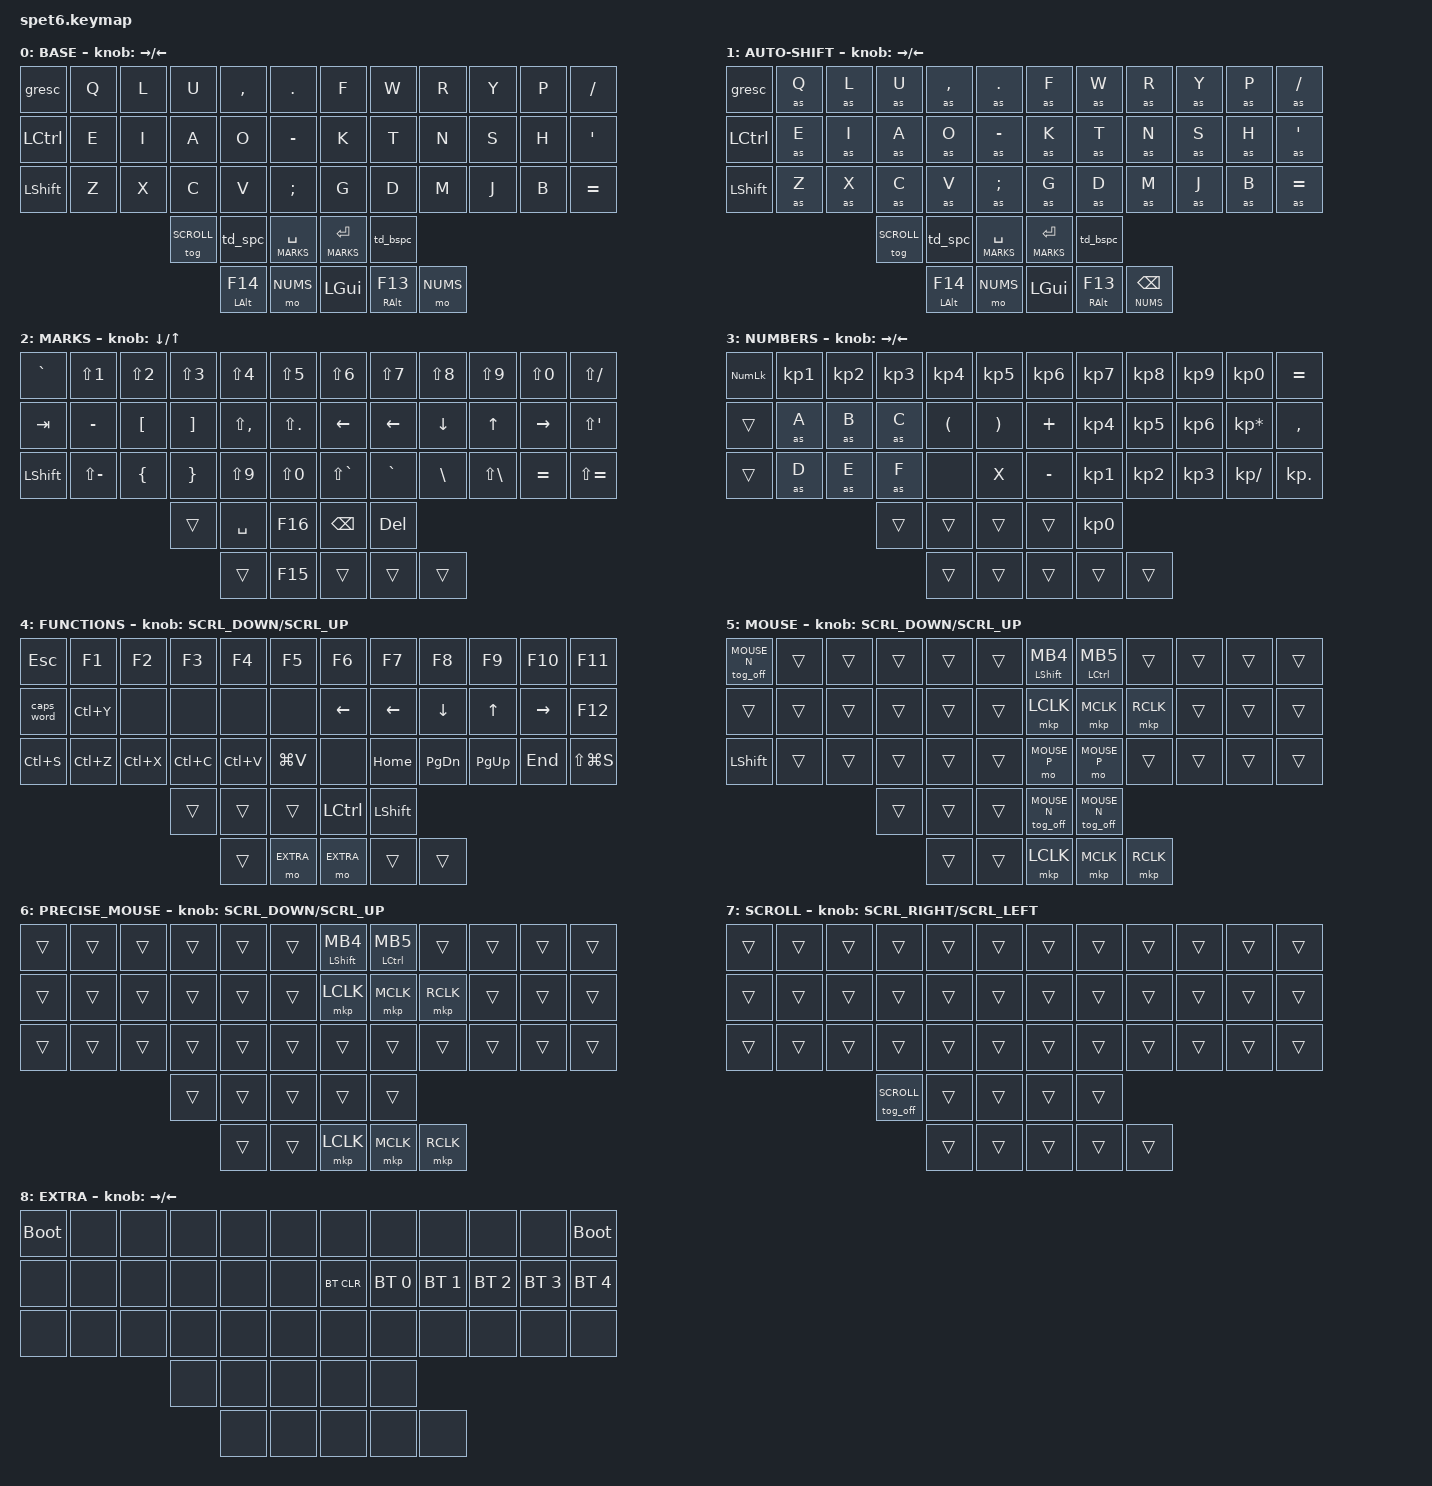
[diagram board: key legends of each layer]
/*
 * Copyright (c) 2020 The ZMK Contributors
 *
 * SPDX-License-Identifier: MIT
 */

#include <input/processors.dtsi>

#define ZMK_POINTING_DEFAULT_SCRL_VAL 120
#define ZMK_MOUSE_SCRL_VAL 140

#include <zephyr/dt-bindings/input/input-event-codes.h>
#include <behaviors.dtsi>
#include <dt-bindings/zmk/bt.h>
#include <dt-bindings/zmk/keys.h>
#include <dt-bindings/zmk/pointing.h>

#define DEFAULT   0
#define AUTOSHIFT 1
#define MARKS     2
#define NUMS      3
#define FUNCS     4
#define MOUSE_N   5
#define MOUSE_P   6
#define SCROLL    7
#define EXTRA     8

/**************************************************************************/
/*  TrackBall 関連                                                        */

&trackball { cpi = <600>; };

&trackball_listener {
    input-processors = <&zip_temp_layer MOUSE_N 5000>;

    precise {
        layers = <MOUSE_P>;
        input-processors = <&zip_xy_scaler 1 16>;
        process-next;
    };
};

&trackball_scroller {
    layers = <SCROLL>;

    // Example: adjust sensitivity of scroll multiply by 1 and divide by 60.
    // input-processors = <&zip_xy_scaler 1 60 &zip_xy_to_scroll_mapper>;
};

// クリック時に10秒間AMLを延長

&mkp_input_listener { input-processors = <&zip_temp_layer MOUSE_N 10000>; };

// キー入力から200ms間はAMLを抑制(AML誤発動防止)

&zip_temp_layer { require-prior-idle-ms = <200>; };

/**************************************************************************/
/*   マウススクロール用設定                                               */

/ {
    input_processors {
        zip_wheel_scaler: zip_wheel_scaler {
            compatible = "zmk,input-processor-scaler";
            #input-processor-cells = <2>;
            type = <INPUT_EV_REL>;
            codes = <INPUT_REL_WHEEL>;
            track-remainders;
        };
    };
};

&msc {
    delay-ms = <0>;
    trigger-period-ms = <10>;
    time-to-max-speed-ms = <0>;
    acceleration-exponent = <0>;
};

&msc_input_listener {
    warp {
        layers = <MOUSE_N SCROLL>;
        input-processors = <&zip_wheel_scaler 4 1>;
    };

    normal {
        layers = <DEFAULT MARKS NUMS FUNCS EXTRA>;
        input-processors = <&zip_wheel_scaler 1 1>;
    };
};

/**************************************************************************/

/ {
    combos {
        compatible = "zmk,combos";

        combo_shift_R {
            bindings = <&kp RSHFT>;
            key-positions = <39 40>;
        };

        combo_shift_L {
            bindings = <&kp LSHFT>;
            key-positions = <37 38>;
        };

        combo_tab {
            bindings = <&kp TAB>;
            key-positions = <12 13>;
        };

        mo_scroll {
            bindings = <&mo SCROLL>;
            key-positions = <41 42>;
        };

        mo_scroll2 {
            bindings = <&mo SCROLL>;
            key-positions = <30 31>;
        };

        alt_space {
            bindings = <&kp LA(SPACE)>;
            key-positions = <38 39>;
        };

        combo_capslock {
            bindings = <&kp CAPS>;
            key-positions = <12 13 14>;
        };

        toggle_autoshift {
            bindings = <&tog AUTOSHIFT>;
            key-positions = <0 11>;
        };

        Lctrl {
            bindings = <&kp LCTRL>;
            key-positions = <24 25>;
        };

        Rctrl {
            bindings = <&kp RCTRL>;
            key-positions = <34 35>;
        };

        toggle_IME {
            bindings = <&kp LC(SPACE)>;
            key-positions = <37 40>;
        };
    };

    /**************************************************************************/

    macros {
        // for Auto Shift

        shifted: macro_shifted_kp {
            #binding-cells = <1>;
            label = "MACRO_SHIFTED_KP";
            compatible = "zmk,behavior-macro-one-param";
            bindings =
                <&macro_press>,
                <&kp LSHFT &macro_param_1to1>,
                <&macro_tap>,
                <&kp MACRO_PLACEHOLDER>,
                <&macro_release>,
                <&kp LSHFT>;
        };

        as: autoshift {
            compatible = "zmk,behavior-macro-one-param";
            #binding-cells = <1>;
            label = "AUTOSHIFT_KP";
            bindings =
                <&macro_press>,
                <&macro_param_1to1 &macro_param_1to2 &as_ht MACRO_PLACEHOLDER MACRO_PLACEHOLDER>,
                <&macro_pause_for_release>,
                <&macro_release>,
                <&macro_param_1to1 &macro_param_1to2 &as_ht MACRO_PLACEHOLDER MACRO_PLACEHOLDER>;
        };
    };

    /**************************************************************************/

    behaviors {
        td_bspc: tap_dance_0 {
            compatible = "zmk,behavior-tap-dance";
            #binding-cells = <0>;
            tapping-term-ms = <200>;
            bindings = <&lt FUNCS BSPC>, <&kp BSPC>;
        };

        td_spc: tap_dance_1 {
            compatible = "zmk,behavior-tap-dance";
            #binding-cells = <0>;
            tapping-term-ms = <200>;
            bindings = <&lt FUNCS SPACE>, <&kp SPACE>;
        };

        mouse_scroll: mouse_wheel_scroll {
            compatible = "zmk,behavior-sensor-rotate-var";
            #sensor-binding-cells = <2>;
            bindings = <&msc>, <&msc>;

            tap-ms = <25>;
        };

        mod_mkp: mod_mkp {
            compatible = "zmk,behavior-hold-tap";
            label = "MOD_MKP";
            bindings = <&kp>, <&mkp>;

            #binding-cells = <2>;
            tapping-term-ms = <150>;
        };

        as_ht: autoshift_hold_tap {
            compatible = "zmk,behavior-hold-tap";
            label = "AUTOSHIFT_HOLD_TAP";
            #binding-cells = <2>;
            tapping_term_ms = <180>;
            quick_tap_ms = <0>;
            flavor = "tap-preferred";
            bindings = <&shifted>, <&kp>;
        };

        tog_off: toggle_layer_off {
            compatible = "zmk,behavior-toggle-layer";
            #binding-cells = <1>;
            display-name = "Toggle Layer Off";
            toggle-mode = "off";
        };

        ime_alt: ime_alt {
            compatible = "zmk,behavior-hold-tap";
            label = "IME_ALT";
            bindings = <&kp>, <&kp>;

            #binding-cells = <2>;
            tapping-term-ms = <200>;
            flavor = "tap-preferred";
        };
    };

    /**************************************************************************/

    keymap {
        compatible = "zmk,keymap";

        default_layer {
            display-name = "BASE";

            // -----------------------------------------------------------------------------------------
            // |  ESC |  Q  |  L  |  U  |  ,  |  .  |   |  F  |  W   |  R  |  Y  |  P  |  /   |
            // | CTRL |  E  |  I  |  A  |  O  |  -  |   |  K  |  T   |  N  |  S  |  H  |  '   |
            // | SHFT |  Z  |  X  |  C  |  V  |  B  |   |  G  |  D   |  M  |  J  |  B  |  =   |
            //        | SCRL| SPC(FUNK) | SPC(MARK) |   | ENT(MARK) | BKSP(FUNC) |
            //              |  LALT     | NUMS      |   | GUI       | RALT       | BKSP(NUM)|

            bindings = <
&gresc     &kp Q  &kp L  &kp U        &kp COMMA          &kp PERIOD       &kp F          &kp W              &kp R     &kp Y  &kp P  &kp SLASH
&kp LCTRL  &kp E  &kp I  &kp A        &kp O              &kp MINUS        &kp K          &kp T              &kp N     &kp S  &kp H  &kp SQT
&kp LSHFT  &kp Z  &kp X  &kp C        &kp V              &kp SEMICOLON    &kp G          &kp D              &kp M     &kp J  &kp B  &kp EQUAL
                         &tog SCROLL  &td_spc            &lt MARKS SPACE  &lt MARKS RET  &td_bspc
                                      &ime_alt LALT F14  &mo NUMS         &kp LGUI       &ime_alt RALT F13  &mo NUMS
            >;

            sensor-bindings = <&inc_dec_kp RIGHT LEFT>;
        };

        autoshift_layer {
            display-name = "AUTO-SHIFT";

            // -----------------------------------------------------------------------------------------
            // |  ESC |  Q  |  L  |  U  |  ,  |  .  |   |  F  |  W   |  R  |  Y  |  P  |  /   |
            // | CTRL |  E  |  I  |  A  |  O  |  -  |   |  K  |  T   |  N  |  S  |  H  |  '   |
            // | SHFT |  Z  |  X  |  C  |  V  |  B  |   |  G  |  D   |  M  |  J  |  B  |  =   |
            //        | SCRL| SPC(FUNK) | SPC(MARK) |   | ENT(MARK) | BKSP(FUNC) |
            //              |  LALT     | NUMS      |   | GUI       | RALT       | BKSP(NUM)|

            bindings = <
&gresc     &as Q  &as L  &as U        &as COMMA          &as PERIOD       &as F          &as W              &as R               &as Y  &as P  &as SLASH
&kp LCTRL  &as E  &as I  &as A        &as O              &as MINUS        &as K          &as T              &as N               &as S  &as H  &as SQT
&kp LSHFT  &as Z  &as X  &as C        &as V              &as SEMICOLON    &as G          &as D              &as M               &as J  &as B  &as EQUAL
                         &tog SCROLL  &td_spc            &lt MARKS SPACE  &lt MARKS RET  &td_bspc
                                      &ime_alt LALT F14  &mo NUMS         &kp LGUI       &ime_alt RALT F13  &lt NUMS BACKSPACE
            >;

            sensor-bindings = <&inc_dec_kp RIGHT LEFT>;
        };

        mark_layer {
            display-name = "MARKS";

            // -----------------------------------------------------------------------------------------
            // |  ~   |  !  |  @  |  #  |  $  |  %  |   |  ^  |  &  |  *  |  (        | )   | ?  |
            // | TAB  |  -  |  {  |  }  |  <  | >   |   | LFT | LFT | DWN |  UP       | RGT |  " |
            // |      |  _  |  [  |  ]  |  (  | )   |   |  `  |  ~  |  ¥  |  Lsft(¥)  |  =  |  + |
            //                    | --- |---- | ----|   | ---- | DELETE  |
            //                          |---- | ----|   | ---- |  -----  | ---- |

            bindings = <
&kp GRAVE  &kp LS(N1)     &kp LS(N2)  &kp LS(N3)  &kp LS(N4)     &kp LS(N5)      &kp LS(N6)     &kp LS(N7)  &kp LS(N8)  &kp LS(N9)    &kp LS(N0)  &kp LS(SLASH)
&kp TAB    &kp MINUS      &kp LBKT    &kp RBKT    &kp LS(COMMA)  &kp LS(PERIOD)  &kp LEFT       &kp LEFT    &kp DOWN    &kp UP        &kp RIGHT   &kp LS(SQT)
&kp LSHFT  &kp LS(MINUS)  &kp LBRC    &kp RBRC    &kp LS(N9)     &kp LS(N0)      &kp LS(GRAVE)  &kp GRAVE   &kp BSLH    &kp LS(BSLH)  &kp EQUAL   &kp LS(EQUAL)
                                      &trans      &kp SPACE      &kp F16         &kp BACKSPACE  &kp DELETE
                                                  &trans         &kp F15         &trans         &trans      &trans
            >;

            sensor-bindings = <&inc_dec_kp DOWN UP>;
        };

        num_layer {
            display-name = "NUMBERS";

            // -----------------------------------------------------------------------------------------
            // |  NUM |  1  |  2  |  3  |  4  |  5  |   |  6  |  7  |  8  |  9  |  0  |  .   |
            // | ---- |  a  |  b  |  c  |  (  |  )  |   |  +  |  4  |  5  |  6  |  *  |  ,   |
            // | ---- |  d  |  e  |  f  | --- |  x  |   |  -  |  1  |  2  |  3  |  /  |  =   |
            //                    | --- |---- | ----|   | --- | --- |
            //                          |---- | ----|   | --- | --- | --- |

            bindings = <
&kp KP_NUM  &kp KP_N1  &kp KP_N2  &kp KP_N3  &kp KP_N4             &kp KP_N5              &kp KP_N6  &kp KP_N7        &kp KP_N8  &kp KP_N9  &kp KP_N0        &kp EQUAL
&trans      &as A      &as B      &as C      &kp LEFT_PARENTHESIS  &kp RIGHT_PARENTHESIS  &kp PLUS   &kp KP_N4        &kp KP_N5  &kp KP_N6  &kp KP_ASTERISK  &kp COMMA
&trans      &as D      &as E      &as F      &none                 &kp X                  &kp MINUS  &kp KP_N1        &kp KP_N2  &kp KP_N3  &kp KP_SLASH     &kp KP_DOT
                                  &trans     &trans                &trans                 &trans     &kp KP_NUMBER_0
                                             &trans                &trans                 &trans     &trans           &trans
            >;

            sensor-bindings = <&inc_dec_kp RIGHT LEFT>;
        };

        func_layer {
            display-name = "FUNCTIONS";

            // -----------------------------------------------------------------------------------------
            // |  ESC   | F1   |  F2  |  F3  |  F4   |  F5   |     |  F6 |  F7 |  F8 |  F9 | F10  | F11        |
            // |CAPSWORD| ---  | ---- | ---- | ----- | ----  |     | LEFT| LEFT| DOWN| UP  |RIGHT | F12        |
            // |  SAVE  | UNDO | CUT  | COPY | PASTE | PASTE |     | HOME| PGUP| PGDN| END | ---- | PrintScreen|
            //                        | ---- | ----- | ----- |     | -------- | ----  | 
            //                               | ----- |Mo(BOOT)|    | Mo(BOOT) | ----- | ----- |

            bindings = <
&kp ESC     &kp F1     &kp F2     &kp F3     &kp F4     &kp F5     &kp F6     &kp F7     &kp F8     &kp F9     &kp F10    &kp F11
&caps_word  &kp LC(Y)  &none      &none      &none      &none      &kp LEFT   &kp LEFT   &kp DOWN   &kp UP     &kp RIGHT  &kp F12
&kp LC(S)   &kp LC(Z)  &kp LC(X)  &kp LC(C)  &kp LC(V)  &kp LG(V)  &none      &kp HOME   &kp PG_DN  &kp PG_UP  &kp END    &kp LS(LG(S))
                                  &trans     &trans     &trans     &kp LCTRL  &kp LSHFT
                                             &trans     &mo EXTRA  &mo EXTRA  &trans     &trans
            >;

            sensor-bindings = <&mouse_scroll SCRL_DOWN SCRL_UP>;
        };

        mouse_layer {
            display-name = "MOUSE";

            // -----------------------------------------------------------------------------------------
            // | --- | --- | --- | --- | --- | --- |   | Prev    | Next    | ---- | --- | --- | --- |
            // | --- | --- | --- | --- | --- | --- |   | LCLK    | MCLK    | RCLK | --- | --- | --- |
            // | --- | --- | --- | --- | --- | --- |   | Precise | Precise | ---- | --- | --- | --- |
            //                   | --- | --- | --- |   | ------- | ------- |
            //                         | --- | --- |   | LCLK    | MCLK    | RCLK |

            bindings = <
&tog_off MOUSE_N  &trans  &trans  &trans  &trans  &trans  &mod_mkp LEFT_SHIFT MB4  &mod_mkp LCTRL MB5  &trans     &trans  &trans  &trans
&trans            &trans  &trans  &trans  &trans  &trans  &mkp LCLK                &mkp MCLK           &mkp RCLK  &trans  &trans  &trans
&kp LSHFT         &trans  &trans  &trans  &trans  &trans  &mo MOUSE_P              &mo MOUSE_P         &trans     &trans  &trans  &trans
                                  &trans  &trans  &trans  &tog_off MOUSE_N         &tog_off MOUSE_N
                                          &trans  &trans  &mkp LCLK                &mkp MCLK           &mkp RCLK
            >;

            sensor-bindings = <&mouse_scroll SCRL_DOWN SCRL_UP>;
        };

        precise_mouse_layer {
            display-name = "PRECISE_MOUSE";

            // -----------------------------------------------------------------------------------------
            // | --- | --- | --- | --- | --- | --- |   | Prev | Next | ---- | --- | --- | --- |
            // | --- | --- | --- | --- | --- | --- |   | LCLK | MCLK | RCLK | --- | --- | --- |
            // | --- | --- | --- | --- | --- | --- |   | ---- | ---- | ---- | --- | --- | --- |
            //                   | --- | --- | --- |   | ---- | ---- |
            //                         | --- | --- |   | LCLK | MCLK | RCLK |

            bindings = <
&trans  &trans  &trans  &trans  &trans  &trans  &mod_mkp LEFT_SHIFT MB4  &mod_mkp LCTRL MB5  &trans     &trans  &trans  &trans
&trans  &trans  &trans  &trans  &trans  &trans  &mkp LCLK                &mkp MCLK           &mkp RCLK  &trans  &trans  &trans
&trans  &trans  &trans  &trans  &trans  &trans  &trans                   &trans              &trans     &trans  &trans  &trans
                        &trans  &trans  &trans  &trans                   &trans
                                &trans  &trans  &mkp LCLK                &mkp MCLK           &mkp RCLK
            >;

            sensor-bindings = <&mouse_scroll SCRL_DOWN SCRL_UP>;
        };

        scroll_layer {
            display-name = "SCROLL";

            // -----------------------------------------------------------------------------------------
            // | --- | --- | --- | ---- | --- | --- |   | --- | --- | --- | --- | --- | --- |
            // | --- | --- | --- | ---- | --- | --- |   | --- | --- | --- | --- | --- | --- |
            // | --- | --- | --- | ---- | --- | --- |   | --- | --- | --- | --- | --- | --- |
            //                   |TO DEF| --- | --- |   | --- | --- |
            //                          | --- | --- |   | --- | --- | --- |

            bindings = <
&trans  &trans  &trans  &trans           &trans  &trans  &trans  &trans  &trans  &trans  &trans  &trans
&trans  &trans  &trans  &trans           &trans  &trans  &trans  &trans  &trans  &trans  &trans  &trans
&trans  &trans  &trans  &trans           &trans  &trans  &trans  &trans  &trans  &trans  &trans  &trans
                        &tog_off SCROLL  &trans  &trans  &trans  &trans
                                         &trans  &trans  &trans  &trans  &trans
            >;

            sensor-bindings = <&mouse_scroll SCRL_RIGHT SCRL_LEFT>;
        };

        ex_layer {
            display-name = "EXTRA";

            // -----------------------------------------------------------------------------------------
            // | BOOT |    |     |     |       |     |      |     |     |     |     |     | BOOT |
            // |      |    |     |     |       |     |      |BTCLR| BT0 | BT1 | BT2 | BT3 | BT4  |
            // |      |    |     |     |       |     |      |     |     |     |     |     |      |
            //                   |     |       |     |      |     |     | 
            //                         |       |     |      |     |     |

            bindings = <
&bootloader  &none  &none  &none  &none  &none  &none       &none         &none         &none         &none         &bootloader
&none        &none  &none  &none  &none  &none  &bt BT_CLR  &bt BT_SEL 0  &bt BT_SEL 1  &bt BT_SEL 2  &bt BT_SEL 3  &bt BT_SEL 4
&none        &none  &none  &none  &none  &none  &none       &none         &none         &none         &none         &none
                           &none  &none  &none  &none       &none
                                  &none  &none  &none       &none         &none
            >;

            sensor-bindings = <&inc_dec_kp RIGHT LEFT>;
        };
    };
};
